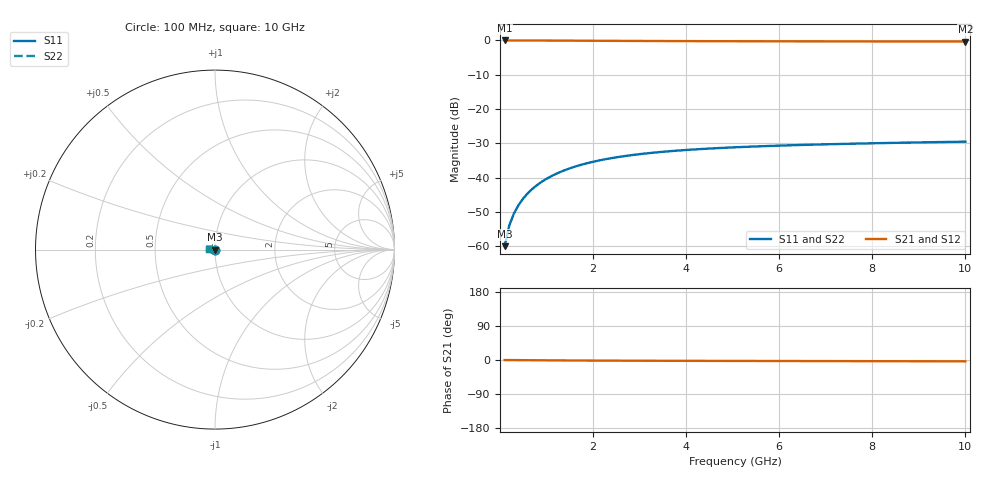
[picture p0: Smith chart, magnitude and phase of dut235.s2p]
! Touchstone file exported from HFSS 2024.1.0
!  File:  C:/UserFiles/LocalFiles/RDL_TSV_Batchsim/temp_TSV1_235_1779389086.aedt
!  Generated:  02:49:47 AM May 22, 2026
!  Design:  TSV1
!  Project:  temp_TSV1_235_1779389086
!  Setup:  Setup1
!  Solution:  Sweep
! Variables:
!  dtsv = 13.52um
!  hbump = 3um
!  htsv = 50.33um
!  lrdl = 252.1521522um
!  p = 40
!  p1 = 57.74um
!  t = 500um
!  trdl = 3um
!  wrdl = 24.89489489um
# GHz S MA R 50.000000
! Terminal data exported
! Port[1] = TSV22_T1
! Port[2] = TSV22_T2
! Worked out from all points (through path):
!   100 points, 100 MHz to 10 GHz, reference 50 ohm
!   highest |S21| = 0.00 dB at 100 MHz (marker M1); lowest = -0.3 dB at 10 GHz (marker M2)
!   lowest |S11| = -60.0 dB at 100 MHz (marker M3), VSWR 1.00, Z = 50 - j0.1 ohm
!   |S11| at or under -10 dB: start of sweep to end of sweep
!   |S22| runs from -60.0 to -29.5 dB; largest |S21 - S12| = 5.6e-15
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0.1  0.001003 -88.3  0.9999 -0.1  0.9999 -0.1  0.001003 -88.3
! Gamma 0 0 0 0
! Port Impedance 50 0 50 0
0.2  0.002004 -92.0  0.9998 -0.2  0.9998 -0.2  0.002004 -92.0
0.3  0.003003 -94.5  0.9996 -0.3  0.9996 -0.3  0.003003 -94.5
0.4  0.003996 -96.8  0.9993 -0.4  0.9993 -0.4  0.003996 -96.8
0.5  0.004979 -99.0  0.999 -0.5  0.999 -0.5  0.004979 -99.0
0.6  0.005947 -101.1  0.9986 -0.6  0.9986 -0.6  0.005947 -101.1
0.7  0.006898 -103.2  0.9982 -0.6  0.9982 -0.6  0.006898 -103.2
0.8  0.007829 -105.2  0.9977 -0.7  0.9977 -0.7  0.007829 -105.2
0.9  0.008738 -107.2  0.9972 -0.8  0.9972 -0.8  0.008738 -107.2
1.1  0.01049 -111.0  0.996 -1.0  0.996 -1.0  0.01049 -111.0
1.4  0.01291 -116.3  0.994 -1.2  0.994 -1.2  0.01291 -116.3
1.6  0.0144 -119.7  0.9926 -1.3  0.9926 -1.3  0.0144 -119.7
1.8  0.01577 -122.9  0.9912 -1.4  0.9912 -1.4  0.01577 -122.9
2.1  0.01764 -127.4  0.9891 -1.6  0.9891 -1.6  0.01764 -127.4
2.5  0.01979 -132.8  0.9863 -1.7  0.9863 -1.7  0.01979 -132.8
2.9  0.0216 -137.7  0.9838 -1.9  0.9838 -1.9  0.0216 -137.7
3.4  0.02349 -143.1  0.981 -2.0  0.981 -2.0  0.02349 -143.1
4.2  0.02584 -150.4  0.9772 -2.3  0.9772 -2.3  0.02584 -150.4
5.1  0.0278 -157.2  0.974 -2.5  0.974 -2.5  0.0278 -157.2
6.7  0.03026 -166.9  0.9699 -2.8  0.9699 -2.8  0.03026 -166.9
8.4  0.03209 -175.1  0.9671 -3.2  0.9671 -3.2  0.03209 -175.1
10  0.03347 178.5  0.9654 -3.6  0.9654 -3.6  0.03347 178.5
